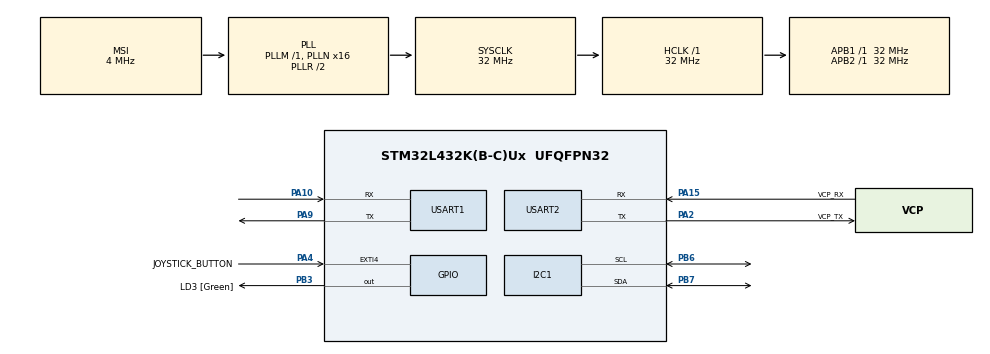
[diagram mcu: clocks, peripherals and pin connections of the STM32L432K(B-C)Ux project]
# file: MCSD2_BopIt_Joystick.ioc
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Dma.Request0=USART1_RX
Dma.USART1_RX.0.Direction=DMA_PERIPH_TO_MEMORY
Dma.USART1_RX.0.Instance=DMA1_Channel5
Dma.USART1_RX.0.MemDataAlignment=DMA_MDATAALIGN_BYTE
Dma.USART1_RX.0.MemInc=DMA_MINC_ENABLE
Dma.USART1_RX.0.Mode=DMA_CIRCULAR
Dma.USART1_RX.0.PeriphDataAlignment=DMA_PDATAALIGN_BYTE
Dma.USART1_RX.0.PeriphInc=DMA_PINC_DISABLE
Dma.USART1_RX.0.Priority=DMA_PRIORITY_LOW
FREERTOS.Queues01=joystickEventQueue,16,uint16_t,0,Dynamic,NULL,NULL
FREERTOS.Tasks01=sensorTask,40,512,start_sensor_task,Default,NULL,Dynamic,NULL,NULL;wifiTask,24,256,start_wifi_task,Default,NULL,Dynamic,NULL,NULL
FREERTOS.configTOTAL_HEAP_SIZE=5000
FREERTOS.configUSE_NEWLIB_REENTRANT=1
I2C1.Timing=0x00707CBB
Mcu.Family=STM32L4
Mcu.Name=STM32L432K(B-C)Ux
Mcu.Package=UFQFPN32
NVIC.DMA1_Channel5_IRQn=true\:5\:0\:false\:false\:true\:true\:false\:true
NVIC.EXTI4_IRQn=true\:5\:0\:false\:false\:true\:true\:true\:true
NVIC.PriorityGroup=NVIC_PRIORITYGROUP_4
NVIC.TIM7_IRQn=true\:15\:0\:false\:false\:true\:false\:false\:true
NVIC.TimeBase=TIM7_IRQn
NVIC.TimeBaseIP=TIM7
PA0.GPIO_Label=MCO [High speed clock in]
PA0.Mode=HSE-External-Clock-Source-for-LittleOrca
PA0.Signal=RCC_CK_IN
PA10.Mode=Asynchronous
PA10.Signal=USART1_RX
PA13\ (JTMS-SWDIO).GPIO_Label=SWDIO
PA13\ (JTMS-SWDIO).Mode=Serial_Wire
PA13\ (JTMS-SWDIO).Signal=SYS_JTMS-SWDIO
PA14\ (JTCK-SWCLK).GPIO_Label=SWCLK
PA14\ (JTCK-SWCLK).Mode=Serial_Wire
PA14\ (JTCK-SWCLK).Signal=SYS_JTCK-SWCLK
PA15\ (JTDI).GPIO_Label=VCP_RX
PA15\ (JTDI).Mode=Asynchronous
PA15\ (JTDI).Signal=USART2_RX
PA2.GPIO_Label=VCP_TX
PA2.Mode=Asynchronous
PA2.Signal=USART2_TX
PA4.GPIO_Label=JOYSTICK_BUTTON
PA4.Signal=GPXTI4
PA9.Mode=Asynchronous
PA9.Signal=USART1_TX
PB3\ (JTDO-TRACESWO).GPIO_Label=LD3 [Green]
PB3\ (JTDO-TRACESWO).Signal=GPIO_Output
PB6.Mode=I2C
PB6.Signal=I2C1_SCL
PB7.Mode=I2C
PB7.Signal=I2C1_SDA
PC14-OSC32_IN\ (PC14).Mode=LSE-External-Oscillator
PC14-OSC32_IN\ (PC14).Signal=RCC_OSC32_IN
PC15-OSC32_OUT\ (PC15).Mode=LSE-External-Oscillator
PC15-OSC32_OUT\ (PC15).Signal=RCC_OSC32_OUT
ProjectManager.HeapSize=0x200
ProjectManager.StackSize=0x400
ProjectManager.TargetToolchain=STM32CubeIDE
RCC.AHBFreq_Value=32000000
RCC.APB1Freq_Value=32000000
RCC.APB1TimFreq_Value=32000000
RCC.APB2Freq_Value=32000000
RCC.APB2TimFreq_Value=32000000
RCC.CortexFreq_Value=32000000
RCC.HCLKFreq_Value=32000000
RCC.HSE_VALUE=8000000
RCC.HSI16_VALUE=16000000
RCC.HSI48_VALUE=48000000
RCC.HSI_VALUE=16000000
RCC.MSI_VALUE=4000000
RCC.PLLMUL=RCC_PLLMUL_4
RCC.PLLN=16
RCC.SYSCLKFreq_VALUE=32000000
RCC.SYSCLKSource=RCC_SYSCLKSOURCE_PLLCLK
RCC.VCOOutputFreq_Value=64000000
USART1.VirtualMode-Asynchronous=VM_ASYNC
USART2.VirtualMode-Asynchronous=VM_ASYNC
VP_FREERTOS_VS_CMSIS_V2.Mode=CMSIS_V2
VP_SYS_VS_tim7.Mode=TIM7
board=NUCLEO-L432KC

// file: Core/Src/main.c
/* USER CODE BEGIN Header */
/**
  ******************************************************************************
  * @file           : main.c
  * @brief          : Main program body
  ******************************************************************************
  * @attention
  *
  * Copyright (c) 2022 STMicroelectronics.
  * All rights reserved.
  *
  * This software is licensed under terms that can be found in the LICENSE file
  * in the root directory of this software component.
  * If no LICENSE file comes with this software, it is provided AS-IS.
  *
  ******************************************************************************
  */
/* USER CODE END Header */
#include "main.h"
#include "cmsis_os.h"

/* USER CODE BEGIN Includes */
#include <stdio.h>
#include <string.h>
#include <stdlib.h>
#include "AS5013.h"
#include "wifible.h"
/* USER CODE END Includes */

I2C_HandleTypeDef hi2c1;

UART_HandleTypeDef huart1;
UART_HandleTypeDef huart2;
DMA_HandleTypeDef hdma_usart1_rx;

/* Definitions for sensorTask */
osThreadId_t sensorTaskHandle;
const osThreadAttr_t sensorTask_attributes = {
  .name = "sensorTask",
  .stack_size = 512 * 4,
  .priority = (osPriority_t) osPriorityHigh,
};
/* Definitions for wifiTask */
osThreadId_t wifiTaskHandle;
const osThreadAttr_t wifiTask_attributes = {
  .name = "wifiTask",
  .stack_size = 256 * 4,
  .priority = (osPriority_t) osPriorityNormal,
};
/* Definitions for joystickEventQueue */
osMessageQueueId_t joystickEventQueueHandle;
const osMessageQueueAttr_t joystickEventQueue_attributes = {
  .name = "joystickEventQueue"
};

void SystemClock_Config(void);
static void MX_GPIO_Init(void);
static void MX_USART2_UART_Init(void);
static void MX_I2C1_Init(void);
static void MX_DMA_Init(void);
static void MX_USART1_UART_Init(void);
void start_sensor_task(void *argument);
void start_wifi_task(void *argument);

int main(void)
{

  /* MCU Configuration--------------------------------------------------------*/

  /* Reset of all peripherals, Initializes the Flash interface and the Systick. */
  HAL_Init();

  /* Configure the system clock */
  SystemClock_Config();

  /* Initialize all configured peripherals */
  MX_GPIO_Init();
  MX_USART2_UART_Init();
  MX_I2C1_Init();
  MX_DMA_Init();
  MX_USART1_UART_Init();

  /* Init scheduler */
  osKernelInitialize();

  /* Create the queue(s) */
  /* creation of joystickEventQueue */
  joystickEventQueueHandle = osMessageQueueNew (16, sizeof(uint16_t), &joystickEventQueue_attributes);

  /* Create the thread(s) */
  /* creation of sensorTask */
  sensorTaskHandle = osThreadNew(start_sensor_task, NULL, &sensorTask_attributes);

  /* creation of wifiTask */
  wifiTaskHandle = osThreadNew(start_wifi_task, NULL, &wifiTask_attributes);

  /* Start scheduler */
  osKernelStart();

  /* We should never get here as control is now taken by the scheduler */
  /* Infinite loop */
  while (1)
  {

  }
}

void SystemClock_Config(void)
{
  RCC_OscInitTypeDef RCC_OscInitStruct = {0};
  RCC_ClkInitTypeDef RCC_ClkInitStruct = {0};

  /** Configure the main internal regulator output voltage
  */
  if (HAL_PWREx_ControlVoltageScaling(PWR_REGULATOR_VOLTAGE_SCALE1) != HAL_OK)
  {
    Error_Handler();
  }
  /** Configure LSE Drive Capability
  */
  HAL_PWR_EnableBkUpAccess();
  __HAL_RCC_LSEDRIVE_CONFIG(RCC_LSEDRIVE_LOW);
  /** Initializes the RCC Oscillators according to the specified parameters
  * in the RCC_OscInitTypeDef structure.
  */
  RCC_OscInitStruct.OscillatorType = RCC_OSCILLATORTYPE_LSE|RCC_OSCILLATORTYPE_MSI;
  RCC_OscInitStruct.LSEState = RCC_LSE_ON;
  RCC_OscInitStruct.MSIState = RCC_MSI_ON;
  RCC_OscInitStruct.MSICalibrationValue = 0;
  RCC_OscInitStruct.MSIClockRange = RCC_MSIRANGE_6;
  RCC_OscInitStruct.PLL.PLLState = RCC_PLL_ON;
  RCC_OscInitStruct.PLL.PLLSource = RCC_PLLSOURCE_MSI;
  RCC_OscInitStruct.PLL.PLLM = 1;
  RCC_OscInitStruct.PLL.PLLN = 16;
  RCC_OscInitStruct.PLL.PLLP = RCC_PLLP_DIV7;
  RCC_OscInitStruct.PLL.PLLQ = RCC_PLLQ_DIV2;
  RCC_OscInitStruct.PLL.PLLR = RCC_PLLR_DIV2;
  if (HAL_RCC_OscConfig(&RCC_OscInitStruct) != HAL_OK)
  {
    Error_Handler();
  }
  /** Initializes the CPU, AHB and APB buses clocks
  */
  RCC_ClkInitStruct.ClockType = RCC_CLOCKTYPE_HCLK|RCC_CLOCKTYPE_SYSCLK
                              |RCC_CLOCKTYPE_PCLK1|RCC_CLOCKTYPE_PCLK2;
  RCC_ClkInitStruct.SYSCLKSource = RCC_SYSCLKSOURCE_PLLCLK;
  RCC_ClkInitStruct.AHBCLKDivider = RCC_SYSCLK_DIV1;
  RCC_ClkInitStruct.APB1CLKDivider = RCC_HCLK_DIV1;
  RCC_ClkInitStruct.APB2CLKDivider = RCC_HCLK_DIV1;

  if (HAL_RCC_ClockConfig(&RCC_ClkInitStruct, FLASH_LATENCY_1) != HAL_OK)
  {
    Error_Handler();
  }
  /** Enable MSI Auto calibration
  */
  HAL_RCCEx_EnableMSIPLLMode();
}

static void MX_I2C1_Init(void)
{

  hi2c1.Instance = I2C1;
  hi2c1.Init.Timing = 0x00707CBB;
  hi2c1.Init.OwnAddress1 = 0;
  hi2c1.Init.AddressingMode = I2C_ADDRESSINGMODE_7BIT;
  hi2c1.Init.DualAddressMode = I2C_DUALADDRESS_DISABLE;
  hi2c1.Init.OwnAddress2 = 0;
  hi2c1.Init.OwnAddress2Masks = I2C_OA2_NOMASK;
  hi2c1.Init.GeneralCallMode = I2C_GENERALCALL_DISABLE;
  hi2c1.Init.NoStretchMode = I2C_NOSTRETCH_DISABLE;
  if (HAL_I2C_Init(&hi2c1) != HAL_OK)
  {
    Error_Handler();
  }
  /** Configure Analogue filter
  */
  if (HAL_I2CEx_ConfigAnalogFilter(&hi2c1, I2C_ANALOGFILTER_ENABLE) != HAL_OK)
  {
    Error_Handler();
  }
  /** Configure Digital filter
  */
  if (HAL_I2CEx_ConfigDigitalFilter(&hi2c1, 0) != HAL_OK)
  {
    Error_Handler();
  }

}

static void MX_USART1_UART_Init(void)
{

  huart1.Instance = USART1;
  huart1.Init.BaudRate = 115200;
  huart1.Init.WordLength = UART_WORDLENGTH_8B;
  huart1.Init.StopBits = UART_STOPBITS_1;
  huart1.Init.Parity = UART_PARITY_NONE;
  huart1.Init.Mode = UART_MODE_TX_RX;
  huart1.Init.HwFlowCtl = UART_HWCONTROL_NONE;
  huart1.Init.OverSampling = UART_OVERSAMPLING_16;
  huart1.Init.OneBitSampling = UART_ONE_BIT_SAMPLE_DISABLE;
  huart1.AdvancedInit.AdvFeatureInit = UART_ADVFEATURE_NO_INIT;
  if (HAL_UART_Init(&huart1) != HAL_OK)
  {
    Error_Handler();
  }

}

static void MX_USART2_UART_Init(void)
{

  huart2.Instance = USART2;
  huart2.Init.BaudRate = 115200;
  huart2.Init.WordLength = UART_WORDLENGTH_8B;
  huart2.Init.StopBits = UART_STOPBITS_1;
  huart2.Init.Parity = UART_PARITY_NONE;
  huart2.Init.Mode = UART_MODE_TX_RX;
  huart2.Init.HwFlowCtl = UART_HWCONTROL_NONE;
  huart2.Init.OverSampling = UART_OVERSAMPLING_16;
  huart2.Init.OneBitSampling = UART_ONE_BIT_SAMPLE_DISABLE;
  huart2.AdvancedInit.AdvFeatureInit = UART_ADVFEATURE_NO_INIT;
  if (HAL_UART_Init(&huart2) != HAL_OK)
  {
    Error_Handler();
  }

}

static void MX_DMA_Init(void)
{

  /* DMA controller clock enable */
  __HAL_RCC_DMA1_CLK_ENABLE();

  /* DMA interrupt init */
  /* DMA1_Channel5_IRQn interrupt configuration */
  HAL_NVIC_SetPriority(DMA1_Channel5_IRQn, 5, 0);
  HAL_NVIC_EnableIRQ(DMA1_Channel5_IRQn);

}

static void MX_GPIO_Init(void)
{
  GPIO_InitTypeDef GPIO_InitStruct = {0};

  /* GPIO Ports Clock Enable */
  __HAL_RCC_GPIOC_CLK_ENABLE();
  __HAL_RCC_GPIOA_CLK_ENABLE();
  __HAL_RCC_GPIOB_CLK_ENABLE();

  /*Configure GPIO pin Output Level */
  HAL_GPIO_WritePin(LD3_GPIO_Port, LD3_Pin, GPIO_PIN_RESET);

  /*Configure GPIO pin : JOYSTICK_BUTTON_Pin */
  GPIO_InitStruct.Pin = JOYSTICK_BUTTON_Pin;
  GPIO_InitStruct.Mode = GPIO_MODE_IT_RISING;
  GPIO_InitStruct.Pull = GPIO_NOPULL;
  HAL_GPIO_Init(JOYSTICK_BUTTON_GPIO_Port, &GPIO_InitStruct);

  /*Configure GPIO pin : LD3_Pin */
  GPIO_InitStruct.Pin = LD3_Pin;
  GPIO_InitStruct.Mode = GPIO_MODE_OUTPUT_PP;
  GPIO_InitStruct.Pull = GPIO_NOPULL;
  GPIO_InitStruct.Speed = GPIO_SPEED_FREQ_LOW;
  HAL_GPIO_Init(LD3_GPIO_Port, &GPIO_InitStruct);

  /* EXTI interrupt init*/
  HAL_NVIC_SetPriority(EXTI4_IRQn, 5, 0);
  HAL_NVIC_EnableIRQ(EXTI4_IRQn);

}

void start_sensor_task(void *argument)
{
  /* USER CODE BEGIN 5 */
  /* Infinite loop */

	wifible_init(&huart1);
	connectWifi("Florian Handy", "florianparzer");

	uint8_t joystick_up_previous = 0;
	uint8_t joystick_left_previous = 0;
	uint8_t joystick_right_previous = 0;
  for(;;)
  {

	  // SDA -> D4
	  // SCL -> D5

	  /* Both values are natively 8-bit signed two's complement on the sensor */
	  int8_t x = 0;
	  int8_t y = 0;
	  if (AS5013_get_x(&hi2c1, &x) != HAL_OK)
	  {
		  HAL_UART_Transmit(&huart2, (uint8_t *) "Error on X coordinate read, restarting measurement\r\n", strlen("Error on X coordinate read, restarting measurement\r\n"), 1000);
		  osDelay(3000);
		  continue;
	  }

	  if (AS5013_get_y(&hi2c1, &y) != HAL_OK)
	  {
	  	  HAL_UART_Transmit(&huart2, (uint8_t *) "Error on Y coordinate read, restarting measurement\r\n", strlen("Error on Y coordinate read, restarting measurement\r\n"), 1000);
	  	  osDelay(3000);
	  	  continue;
	  }

	  // UP -> X = 0, Y = 90+
	  // DOWN -> X = 0, Y = -90-
	  // LEFT -> X = 90+, Y = 0
	  // RIGHT -> X = -80-, Y = 0

	  uint8_t joystick_up_current = 0;
	  uint8_t joystick_left_current = 0;
	  uint8_t joystick_right_current = 0;

	  #define MAX_DEVIATION 25
	  #define DETECTION_THRESHOLD 75

	  if ((DETECTION_THRESHOLD <= y) && (abs(x) < MAX_DEVIATION))
	  {
		  joystick_up_current = 1;
	  }
	  else
	  {
		  joystick_up_current = 0;
	  }

	  if ((DETECTION_THRESHOLD <= x) && (abs(y) < MAX_DEVIATION))
	  {
	  	  joystick_left_current = 1;
	  }
	  else
	  {
		  joystick_left_current = 0;
	  }

	  if ((-DETECTION_THRESHOLD >= x) && (abs(y) < MAX_DEVIATION))
	  {
	   	  joystick_right_current = 1;
	  }
	  else
	  {
		  joystick_right_current = 0;
	  }

	  /* Rising edge */

	  if (joystick_up_current && !joystick_up_previous)
	  {
		  /* Up */

		  uint16_t q_message = JOYSTICK_UP;
		  osMessageQueuePut(joystickEventQueueHandle, &q_message, 0, 0);
	  }

	  if (joystick_left_current && !joystick_left_previous)
	  {
		  /* Left */

		  uint16_t q_message = JOYSTICK_LEFT;
		  osMessageQueuePut(joystickEventQueueHandle, &q_message, 0, 0);
	  }

	  if (joystick_right_current && !joystick_right_previous)
	  {
		  /* Right */

		  uint16_t q_message = JOYSTICK_RIGHT;
		  osMessageQueuePut(joystickEventQueueHandle, &q_message, 0, 0);
	  }

	  joystick_up_previous = joystick_up_current;
	  joystick_left_previous = joystick_left_current;
	  joystick_right_previous = joystick_right_current;

	  osDelay(35);
  }
  /* USER CODE END 5 */
}

void start_wifi_task(void *argument)
{
  /* USER CODE BEGIN start_wifi_task */
  /* Infinite loop */
  for(;;)
  {
    uint16_t message = 0;
    if (osMessageQueueGet(joystickEventQueueHandle, &message, 0, osWaitForever) == osOK)
    {

    	switch (message)
    	{
    		case JOYSTICK_UP:
    			HAL_UART_Transmit(&huart2, (uint8_t *) "Up!\r\n", strlen("Up!\r\n"), 1000);
    			sendHttpPost("192.168.43.198", "/api/challenges", 1, message);
    			break;
    		case JOYSTICK_LEFT:
    			HAL_UART_Transmit(&huart2, (uint8_t *) "Left!\r\n", strlen("Left!\r\n"), 1000);
    			sendHttpPost("192.168.43.198", "/api/challenges", 1, message);
    			break;
    		case JOYSTICK_RIGHT:
    			HAL_UART_Transmit(&huart2, (uint8_t *) "Right\r\n", strlen("Right\r\n"), 1000);
    			sendHttpPost("192.168.43.198", "/api/challenges", 1, message);
    			break;
    		default:
    			HAL_UART_Transmit(&huart2, (uint8_t *) "Error: illegal joystick queue message\r\n", strlen("Error: illegal joystick queue message\r\n"), 1000);
    			break;
    	}
    }
  }
  /* USER CODE END start_wifi_task */
}

void HAL_TIM_PeriodElapsedCallback(TIM_HandleTypeDef *htim)
{
  if (htim->Instance == TIM7) {
    HAL_IncTick();
  }
}

void Error_Handler(void)
{
  __disable_irq();
  while (1)
  {
  }
}
